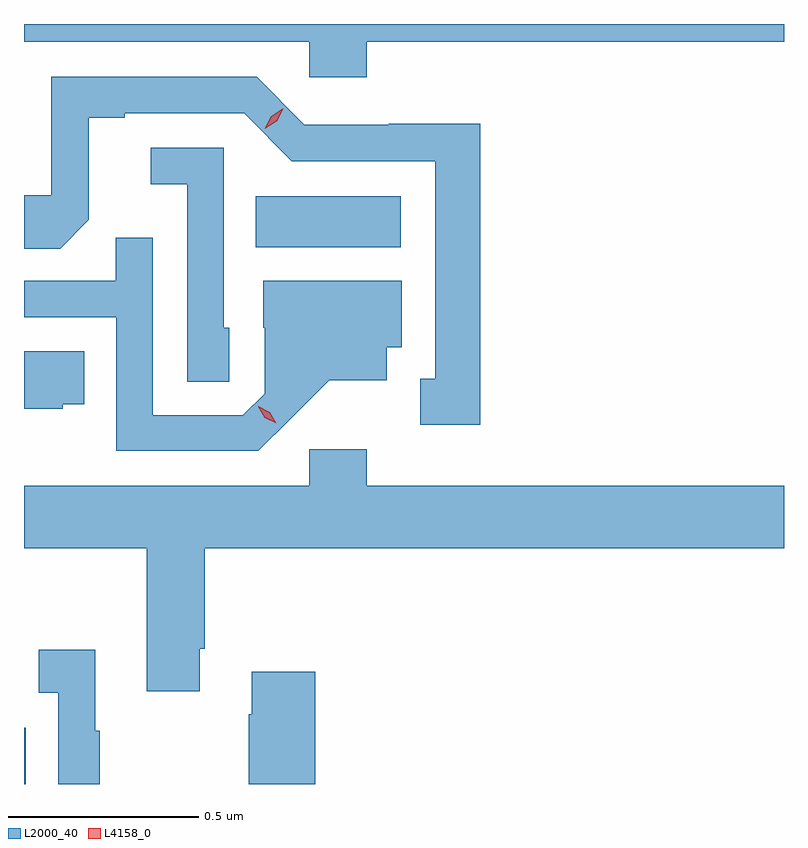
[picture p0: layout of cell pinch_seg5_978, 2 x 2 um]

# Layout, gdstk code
import gdstk
lib = gdstk.Library(unit=1e-6, precision=1e-09)
def R(c, l, rs):  # rectangles x0, y0, x1, y1
    for r in rs: c.add(gdstk.rectangle(r[:2], r[2:], *l))
def P(c, l, *ps):  # polygons
    for p in ps: c.add(gdstk.Polygon(p, *l))
L2000_40 = (2000, 40)
L4158_0 = (4158, 0)

pinch_seg5_978 = lib.new_cell('pinch_seg5_978')
R(pinch_seg5_978, L2000_40, [(701.304,884.111,701.309,884.259), (701.914,885.524,702.295,885.658)])
P(pinch_seg5_978, L2000_40, [(702.206,886.064),(703.304,886.064),(703.304,886.111),(701.304,886.111),(701.304,886.064),(702.054,886.064),(702.054,885.971),(702.206,885.971)],
  [(702.505,885.848),(702.264,885.848),(702.264,885.846),(702.042,885.846),(701.916,885.972),(701.376,885.972),(701.376,885.66),(701.304,885.66),(701.304,885.52),(701.399,885.52),(701.475,885.596),(701.475,885.864),(701.569,885.864),(701.569,885.876),(701.883,885.876),(702.009,885.75),(702.386,885.75),(702.386,885.177),(702.347,885.177),(702.347,885.057),(702.505,885.057)],
  [(701.844,885.312),(701.829,885.312),(701.829,885.786),(701.637,885.786),(701.637,885.689),(701.733,885.689),(701.733,885.169),(701.844,885.169)],
  [(702.004,885.071),(702.107,885.173),(702.259,885.173),(702.259,885.26),(702.298,885.26),(702.298,885.436),(701.933,885.436),(701.933,885.312),(701.937,885.312),(701.937,885.138),(701.88,885.081),(701.643,885.081),(701.643,885.548),(701.545,885.548),(701.545,885.435),(701.304,885.435),(701.304,885.339),(701.547,885.339),(701.547,884.988),(701.92,884.988)],
  [(701.406,885.11),(701.462,885.11),(701.462,885.25),(701.304,885.25),(701.304,885.098),(701.406,885.098)],
  [(703.304,884.896),(702.206,884.896),(702.206,884.992),(702.054,884.992),(702.054,884.896),(701.304,884.896),(701.304,884.732),(701.627,884.732),(701.627,884.355),(701.767,884.355),(701.767,884.467),(701.78,884.467),(701.78,884.732),(703.304,884.732)],
  [(701.503,884.251),(701.491,884.251),(701.491,884.464),(701.343,884.464),(701.343,884.351),(701.394,884.351),(701.394,884.111),(701.503,884.111)],
  [(702.071,884.407),(701.903,884.407),(701.903,884.294),(701.896,884.294),(701.896,884.111),(702.071,884.111)])
P(pinch_seg5_978, L4158_0, [(701.937,885.835),(701.937,885.836),(701.954,885.868),(701.985,885.888),(701.986,885.888),(701.986,885.888),(701.969,885.855),(701.937,885.835)],
  [(701.968,885.06),(701.937,885.075),(701.92,885.104),(701.92,885.105),(701.92,885.105),(701.951,885.089),(701.968,885.06),(701.968,885.06)])

lib.write_gds('pinch_seg5_978.gds')
